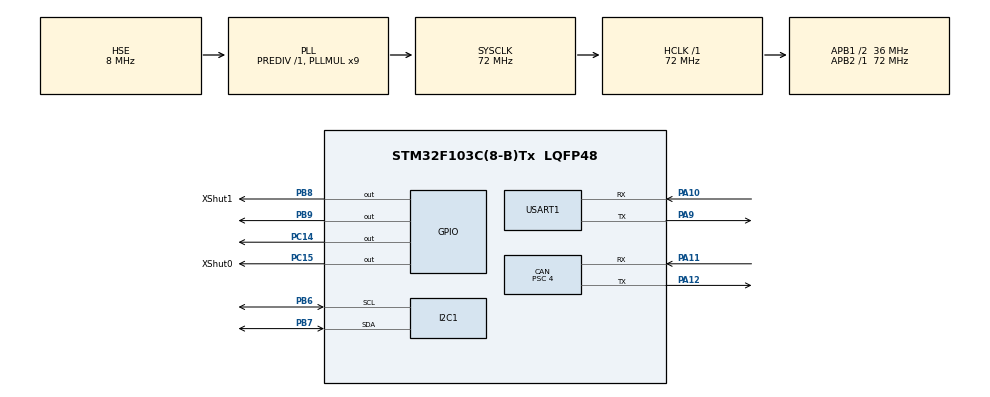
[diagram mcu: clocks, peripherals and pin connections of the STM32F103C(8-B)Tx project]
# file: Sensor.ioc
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CAN.BS1=CAN_BS1_14TQ
CAN.BS2=CAN_BS2_3TQ
CAN.CalculateBaudRate=500000
CAN.CalculateTimeBit=2000
CAN.CalculateTimeQuantum=111.11111111111111
CAN.Prescaler=4
CAN.SJW=CAN_SJW_2TQ
I2C1.I2C_Mode=I2C_Standard
Mcu.Family=STM32F1
Mcu.Name=STM32F103C(8-B)Tx
Mcu.Package=LQFP48
NVIC.PriorityGroup=NVIC_PRIORITYGROUP_4
PA10.Mode=Asynchronous
PA10.Signal=USART1_RX
PA11.Mode=CAN_Activate
PA11.Signal=CAN_RX
PA12.Mode=CAN_Activate
PA12.Signal=CAN_TX
PA9.Mode=Asynchronous
PA9.Signal=USART1_TX
PB6.Mode=I2C
PB6.Signal=I2C1_SCL
PB7.Mode=I2C
PB7.Signal=I2C1_SDA
PB8.GPIO_Label=XShut1
PB8.GPIO_Speed=GPIO_SPEED_FREQ_HIGH
PB8.Signal=GPIO_Output
PB9.GPIO_Speed=GPIO_SPEED_FREQ_HIGH
PB9.PinState=GPIO_PIN_SET
PB9.Signal=GPIO_Output
PC14-OSC32_IN.GPIO_Speed=GPIO_SPEED_FREQ_HIGH
PC14-OSC32_IN.PinState=GPIO_PIN_SET
PC14-OSC32_IN.Signal=GPIO_Output
PC15-OSC32_OUT.GPIO_Label=XShut0
PC15-OSC32_OUT.GPIO_Speed=GPIO_SPEED_FREQ_HIGH
PC15-OSC32_OUT.Signal=GPIO_Output
PD0-OSC_IN.Mode=HSE-External-Oscillator
PD0-OSC_IN.Signal=RCC_OSC_IN
PD1-OSC_OUT.Mode=HSE-External-Oscillator
PD1-OSC_OUT.Signal=RCC_OSC_OUT
ProjectManager.HeapSize=0x200
ProjectManager.StackSize=0x400
ProjectManager.TargetToolchain=STM32CubeIDE
RCC.AHBFreq_Value=72000000
RCC.APB1CLKDivider=RCC_HCLK_DIV2
RCC.APB1Freq_Value=36000000
RCC.APB1TimFreq_Value=72000000
RCC.APB2Freq_Value=72000000
RCC.APB2TimFreq_Value=72000000
RCC.HCLKFreq_Value=72000000
RCC.PLLMUL=RCC_PLL_MUL9
RCC.PLLSourceVirtual=RCC_PLLSOURCE_HSE
RCC.SYSCLKFreq_VALUE=72000000
RCC.SYSCLKSource=RCC_SYSCLKSOURCE_PLLCLK
RCC.USBFreq_Value=72000000
USART1.VirtualMode=VM_ASYNC
board=custom

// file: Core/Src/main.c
/* USER CODE BEGIN Header */
/**
  ******************************************************************************
  * @file           : main.c
  * @brief          : Main program body
  ******************************************************************************
  * @attention
  *
  * Copyright (c) 2023 STMicroelectronics.
  * All rights reserved.
  *
  * This software is licensed under terms that can be found in the LICENSE file
  * in the root directory of this software component.
  * If no LICENSE file comes with this software, it is provided AS-IS.
  *
  ******************************************************************************
  */
/* USER CODE END Header */
#include "main.h"

/* USER CODE BEGIN Includes */
#include "vl53l1_api.h"
#include <stdint.h>
/* USER CODE END Includes */

/* USER CODE BEGIN PTD */
uint32_t MailBox;
uint8_t TxData[8];
CAN_TxHeaderTypeDef TxHeader;
/* USER CODE END PTD */

/* USER CODE BEGIN PD */
#define EXPANDER_1_ADDR 0x84 // 0x42 << 1
#define EXPANDER_2_ADDR 0x86 // 0x43 << 1
/* USER CODE END PD */

CAN_HandleTypeDef hcan;

I2C_HandleTypeDef hi2c1;

UART_HandleTypeDef huart1;

void SystemClock_Config(void);
static void MX_GPIO_Init(void);
static void MX_I2C1_Init(void);
static void MX_CAN_Init(void);
static void MX_USART1_UART_Init(void);

int main(void)
{
  /* USER CODE BEGIN 1 */
	  uint8_t buff[50];
	  VL53L1_RangingMeasurementData_t RangingData;
	  VL53L1_Dev_t  vl53l1_l; // center module
	  VL53L1_Dev_t  vl53l1_r;
	  VL53L1_DEV    Dev = &vl53l1_l;

	  uint8_t ToFSensor = 0; // left = 0, right = 1;
	  uint8_t newI2C = 0x52;

	  uint8_t result;
	  uint8_t rangeLeft;
	  uint8_t rangeRight;

  /* USER CODE END 1 */

  /* MCU Configuration--------------------------------------------------------*/

  /* Reset of all peripherals, Initializes the Flash interface and the Systick. */
  HAL_Init();

  /* Configure the system clock */
  SystemClock_Config();

  /* Initialize all configured peripherals */
  MX_GPIO_Init();
  MX_I2C1_Init();
  MX_CAN_Init();
  MX_USART1_UART_Init();
  /* USER CODE BEGIN 2 */

  for (ToFSensor=0;ToFSensor<2;ToFSensor++){
  		switch(ToFSensor){
  			case 0:
  				HAL_GPIO_WritePin(XShut0_GPIO_Port, XShut0_Pin, GPIO_PIN_RESET);
  				HAL_Delay(2); // 2ms reset time
  				HAL_GPIO_WritePin(XShut0_GPIO_Port, XShut0_Pin, GPIO_PIN_SET);
  	    	  	HAL_Delay(2);
  				Dev=&vl53l1_l;
  				break;
  			case 1:
  				HAL_GPIO_WritePin(XShut1_GPIO_Port, XShut1_Pin, GPIO_PIN_RESET);
  				HAL_Delay(2); // 2ms reset time
  				HAL_GPIO_WritePin(XShut1_GPIO_Port, XShut1_Pin, GPIO_PIN_SET);
  				HAL_Delay(2);
  				Dev=&vl53l1_r;
  				break;
  }

	  Dev->I2cHandle = &hi2c1;
	  Dev->I2cDevAddr = 0x52;
	  Dev->comms_type = 1;
	  newI2C = Dev->I2cDevAddr + (ToFSensor+1)*2;
	  VL53L1_SetDeviceAddress(Dev, newI2C);
	  Dev->I2cDevAddr=newI2C;
      HAL_Delay(2);
    /*** VL53L1X Initialization ***/
      VL53L1_WaitDeviceBooted( Dev );
      VL53L1_DataInit( Dev );
      VL53L1_StaticInit( Dev );
      VL53L1_SetDistanceMode( Dev, VL53L1_DISTANCEMODE_LONG );
      VL53L1_SetMeasurementTimingBudgetMicroSeconds( Dev, 50000 );
      VL53L1_SetInterMeasurementPeriodMilliSeconds( Dev, 500 );
      VL53L1_StartMeasurement( Dev );
  }
    HAL_CAN_Start(&hcan);
    TxHeader.DLC = 8;

  /* USER CODE END 2 */

  /* Infinite loop */
  while (1)
  {

    /* USER CODE BEGIN 3 */
	  for (ToFSensor=0;ToFSensor<2;ToFSensor++){
		  switch(ToFSensor){
		    	case 0:
		    		Dev=&vl53l1_l;
		    		VL53L1_StartMeasurement(Dev);
		    		VL53L1_WaitMeasurementDataReady( Dev );
		    		VL53L1_GetRangingMeasurementData( Dev, &RangingData );
		    		rangeLeft = RangingData.RangeMilliMeter;
		    		//	  	HAL_CAN_AddTxMessage(&hcan, &TxHeader, buff, &MailBox);
		    	    HAL_Delay(1000);
		    	    VL53L1_ClearInterruptAndStartMeasurement( Dev );
		    		break;
		    	case 1:

		    		Dev=&vl53l1_r;
		    		VL53L1_StartMeasurement(Dev);
		    		VL53L1_WaitMeasurementDataReady( Dev );
		    		VL53L1_GetRangingMeasurementData( Dev, &RangingData );
		    		rangeRight = RangingData.RangeMilliMeter;
		    		//	  	HAL_CAN_AddTxMessage(&hcan, &TxHeader, buff, &MailBox);
		    		HAL_Delay(1000);
		    		VL53L1_ClearInterruptAndStartMeasurement( Dev );
		    		break;
	  	}
	  }
		memset(buff,0,sizeof(buff)); //clear buffer
		sprintf( (char*)buff, "L%dR%d ",rangeLeft,rangeRight );
		HAL_UART_Transmit(&huart1, buff, strlen((char*)buff ), 500);

  }
  /* USER CODE END 3 */
}

void SystemClock_Config(void)
{
  RCC_OscInitTypeDef RCC_OscInitStruct = {0};
  RCC_ClkInitTypeDef RCC_ClkInitStruct = {0};

  /** Initializes the RCC Oscillators according to the specified parameters
  * in the RCC_OscInitTypeDef structure.
  */
  RCC_OscInitStruct.OscillatorType = RCC_OSCILLATORTYPE_HSE;
  RCC_OscInitStruct.HSEState = RCC_HSE_ON;
  RCC_OscInitStruct.HSEPredivValue = RCC_HSE_PREDIV_DIV1;
  RCC_OscInitStruct.HSIState = RCC_HSI_ON;
  RCC_OscInitStruct.PLL.PLLState = RCC_PLL_ON;
  RCC_OscInitStruct.PLL.PLLSource = RCC_PLLSOURCE_HSE;
  RCC_OscInitStruct.PLL.PLLMUL = RCC_PLL_MUL9;
  if (HAL_RCC_OscConfig(&RCC_OscInitStruct) != HAL_OK)
  {
    Error_Handler();
  }

  /** Initializes the CPU, AHB and APB buses clocks
  */
  RCC_ClkInitStruct.ClockType = RCC_CLOCKTYPE_HCLK|RCC_CLOCKTYPE_SYSCLK
                              |RCC_CLOCKTYPE_PCLK1|RCC_CLOCKTYPE_PCLK2;
  RCC_ClkInitStruct.SYSCLKSource = RCC_SYSCLKSOURCE_PLLCLK;
  RCC_ClkInitStruct.AHBCLKDivider = RCC_SYSCLK_DIV1;
  RCC_ClkInitStruct.APB1CLKDivider = RCC_HCLK_DIV2;
  RCC_ClkInitStruct.APB2CLKDivider = RCC_HCLK_DIV1;

  if (HAL_RCC_ClockConfig(&RCC_ClkInitStruct, FLASH_LATENCY_2) != HAL_OK)
  {
    Error_Handler();
  }
}

static void MX_CAN_Init(void)
{

  hcan.Instance = CAN1;
  hcan.Init.Prescaler = 4;
  hcan.Init.Mode = CAN_MODE_NORMAL;
  hcan.Init.SyncJumpWidth = CAN_SJW_2TQ;
  hcan.Init.TimeSeg1 = CAN_BS1_14TQ;
  hcan.Init.TimeSeg2 = CAN_BS2_3TQ;
  hcan.Init.TimeTriggeredMode = DISABLE;
  hcan.Init.AutoBusOff = DISABLE;
  hcan.Init.AutoWakeUp = DISABLE;
  hcan.Init.AutoRetransmission = DISABLE;
  hcan.Init.ReceiveFifoLocked = DISABLE;
  hcan.Init.TransmitFifoPriority = DISABLE;
  if (HAL_CAN_Init(&hcan) != HAL_OK)
  {
    Error_Handler();
  }

}

static void MX_I2C1_Init(void)
{

  hi2c1.Instance = I2C1;
  hi2c1.Init.ClockSpeed = 100000;
  hi2c1.Init.DutyCycle = I2C_DUTYCYCLE_2;
  hi2c1.Init.OwnAddress1 = 0;
  hi2c1.Init.AddressingMode = I2C_ADDRESSINGMODE_7BIT;
  hi2c1.Init.DualAddressMode = I2C_DUALADDRESS_DISABLE;
  hi2c1.Init.OwnAddress2 = 0;
  hi2c1.Init.GeneralCallMode = I2C_GENERALCALL_DISABLE;
  hi2c1.Init.NoStretchMode = I2C_NOSTRETCH_DISABLE;
  if (HAL_I2C_Init(&hi2c1) != HAL_OK)
  {
    Error_Handler();
  }

}

static void MX_USART1_UART_Init(void)
{

  huart1.Instance = USART1;
  huart1.Init.BaudRate = 115200;
  huart1.Init.WordLength = UART_WORDLENGTH_8B;
  huart1.Init.StopBits = UART_STOPBITS_1;
  huart1.Init.Parity = UART_PARITY_NONE;
  huart1.Init.Mode = UART_MODE_TX_RX;
  huart1.Init.HwFlowCtl = UART_HWCONTROL_NONE;
  huart1.Init.OverSampling = UART_OVERSAMPLING_16;
  if (HAL_UART_Init(&huart1) != HAL_OK)
  {
    Error_Handler();
  }

}

static void MX_GPIO_Init(void)
{
  GPIO_InitTypeDef GPIO_InitStruct = {0};

  /* GPIO Ports Clock Enable */
  __HAL_RCC_GPIOC_CLK_ENABLE();
  __HAL_RCC_GPIOD_CLK_ENABLE();
  __HAL_RCC_GPIOA_CLK_ENABLE();
  __HAL_RCC_GPIOB_CLK_ENABLE();

  /*Configure GPIO pin Output Level */
  HAL_GPIO_WritePin(GPIOC, GPIO_PIN_14, GPIO_PIN_SET);

  /*Configure GPIO pin Output Level */
  HAL_GPIO_WritePin(XShut0_GPIO_Port, XShut0_Pin, GPIO_PIN_RESET);

  /*Configure GPIO pin Output Level */
  HAL_GPIO_WritePin(XShut1_GPIO_Port, XShut1_Pin, GPIO_PIN_RESET);

  /*Configure GPIO pin Output Level */
  HAL_GPIO_WritePin(GPIOB, GPIO_PIN_9, GPIO_PIN_SET);

  /*Configure GPIO pins : PC14 XShut0_Pin */
  GPIO_InitStruct.Pin = GPIO_PIN_14|XShut0_Pin;
  GPIO_InitStruct.Mode = GPIO_MODE_OUTPUT_PP;
  GPIO_InitStruct.Pull = GPIO_NOPULL;
  GPIO_InitStruct.Speed = GPIO_SPEED_FREQ_HIGH;
  HAL_GPIO_Init(GPIOC, &GPIO_InitStruct);

  /*Configure GPIO pins : XShut1_Pin PB9 */
  GPIO_InitStruct.Pin = XShut1_Pin|GPIO_PIN_9;
  GPIO_InitStruct.Mode = GPIO_MODE_OUTPUT_PP;
  GPIO_InitStruct.Pull = GPIO_NOPULL;
  GPIO_InitStruct.Speed = GPIO_SPEED_FREQ_HIGH;
  HAL_GPIO_Init(GPIOB, &GPIO_InitStruct);

}

void Error_Handler(void)
{
  __disable_irq();
  while (1)
  {
  }
}
